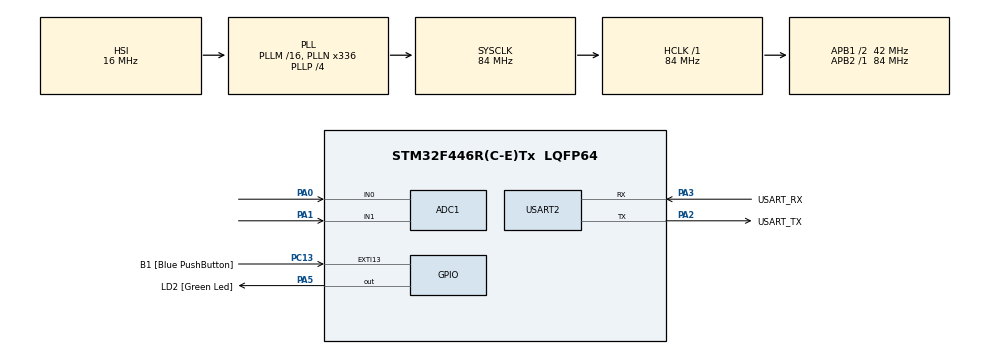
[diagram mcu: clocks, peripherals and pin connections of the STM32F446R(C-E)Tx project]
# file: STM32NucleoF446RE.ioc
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ADC1.Channel-0\#ChannelRegularConversion=ADC_CHANNEL_0
ADC1.Channel-1\#ChannelRegularConversion=ADC_CHANNEL_1
ADC1.DMAContinuousRequests=ENABLE
ADC1.ExternalTrigConv=ADC_EXTERNALTRIGCONV_T2_TRGO
ADC1.NbrOfConversion=2
ADC1.NbrOfConversionFlag=1
ADC1.Rank-0\#ChannelRegularConversion=1
ADC1.Rank-1\#ChannelRegularConversion=2
ADC1.SamplingTime-0\#ChannelRegularConversion=ADC_SAMPLETIME_15CYCLES
ADC1.SamplingTime-1\#ChannelRegularConversion=ADC_SAMPLETIME_15CYCLES
ADC1.ScanConvMode=ENABLE
ADC1.master=1
Dma.ADC1.1.Direction=DMA_PERIPH_TO_MEMORY
Dma.ADC1.1.FIFOMode=DMA_FIFOMODE_DISABLE
Dma.ADC1.1.Instance=DMA2_Stream0
Dma.ADC1.1.MemDataAlignment=DMA_MDATAALIGN_WORD
Dma.ADC1.1.MemInc=DMA_MINC_ENABLE
Dma.ADC1.1.Mode=DMA_CIRCULAR
Dma.ADC1.1.PeriphDataAlignment=DMA_PDATAALIGN_WORD
Dma.ADC1.1.PeriphInc=DMA_PINC_DISABLE
Dma.ADC1.1.Priority=DMA_PRIORITY_LOW
Dma.Request0=USART2_RX
Dma.Request1=ADC1
Dma.USART2_RX.0.Direction=DMA_PERIPH_TO_MEMORY
Dma.USART2_RX.0.FIFOMode=DMA_FIFOMODE_DISABLE
Dma.USART2_RX.0.Instance=DMA1_Stream5
Dma.USART2_RX.0.MemDataAlignment=DMA_MDATAALIGN_BYTE
Dma.USART2_RX.0.MemInc=DMA_MINC_ENABLE
Dma.USART2_RX.0.Mode=DMA_CIRCULAR
Dma.USART2_RX.0.PeriphDataAlignment=DMA_PDATAALIGN_BYTE
Dma.USART2_RX.0.PeriphInc=DMA_PINC_DISABLE
Dma.USART2_RX.0.Priority=DMA_PRIORITY_LOW
Mcu.Family=STM32F4
Mcu.Name=STM32F446R(C-E)Tx
Mcu.Package=LQFP64
NVIC.ADC_IRQn=true\:0\:0\:false\:false\:true\:true\:true
NVIC.DMA1_Stream5_IRQn=true\:0\:0\:false\:false\:true\:false\:true
NVIC.DMA2_Stream0_IRQn=true\:0\:0\:false\:false\:true\:false\:true
NVIC.PriorityGroup=NVIC_PRIORITYGROUP_0
PA0-WKUP.Signal=ADCx_IN0
PA1.Signal=ADCx_IN1
PA13.GPIO_Label=TMS
PA13.Mode=Serial_Wire
PA13.Signal=SYS_JTMS-SWDIO
PA14.GPIO_Label=TCK
PA14.Mode=Serial_Wire
PA14.Signal=SYS_JTCK-SWCLK
PA2.GPIO_Label=USART_TX
PA2.Mode=Asynchronous
PA2.Signal=USART2_TX
PA3.GPIO_Label=USART_RX
PA3.Mode=Asynchronous
PA3.Signal=USART2_RX
PA5.GPIO_Label=LD2 [Green Led]
PA5.Signal=GPIO_Output
PB3.GPIO_Label=SWO
PB3.Signal=SYS_JTDO-SWO
PC13.GPIO_Label=B1 [Blue PushButton]
PC13.GPIO_ModeDefaultEXTI=GPIO_MODE_IT_FALLING
PC13.Signal=GPXTI13
PC14-OSC32_IN.Mode=LSE-External-Oscillator
PC14-OSC32_IN.Signal=RCC_OSC32_IN
PC15-OSC32_OUT.Mode=LSE-External-Oscillator
PC15-OSC32_OUT.Signal=RCC_OSC32_OUT
PH0-OSC_IN.Mode=HSE-External-Oscillator
PH0-OSC_IN.Signal=RCC_OSC_IN
PH1-OSC_OUT.Mode=HSE-External-Oscillator
PH1-OSC_OUT.Signal=RCC_OSC_OUT
ProjectManager.HeapSize=0x200
ProjectManager.StackSize=0x400
ProjectManager.TargetToolchain=STM32CubeIDE
RCC.48MHZClocksFreq_Value=84000000
RCC.AHBFreq_Value=84000000
RCC.APB1CLKDivider=RCC_HCLK_DIV2
RCC.APB1Freq_Value=42000000
RCC.APB1TimFreq_Value=84000000
RCC.APB2Freq_Value=84000000
RCC.APB2TimFreq_Value=84000000
RCC.CortexFreq_Value=84000000
RCC.FLatency-AdvancedSettings=FLASH_LATENCY_2
RCC.HCLKFreq_Value=84000000
RCC.HSE_VALUE=8000000
RCC.HSI_VALUE=16000000
RCC.PLLN=336
RCC.PLLP=RCC_PLLP_DIV4
RCC.SYSCLKFreq_VALUE=84000000
RCC.SYSCLKSource=RCC_SYSCLKSOURCE_PLLCLK
RCC.USBFreq_Value=168000000
RCC.VCOOutputFreq_Value=336000000
SH.ADCx_IN0.0=ADC1_IN0,IN0
SH.ADCx_IN1.0=ADC1_IN1,IN1
TIM2.Period=1000
TIM2.Prescaler=8400
TIM2.TIM_MasterOutputTrigger=TIM_TRGO_UPDATE
USART2.VirtualMode=VM_ASYNC
VP_TIM2_VS_ClockSourceINT.Mode=Internal
board=NUCLEO-F446RE

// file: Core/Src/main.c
/* USER CODE BEGIN Header */
/**
  ******************************************************************************
  * @file           : main.c
  * @brief          : Main program body
  ******************************************************************************
  * @attention
  *
  * <h2><center>&copy; Copyright (c) 2020 STMicroelectronics.
  * All rights reserved.</center></h2>
  *
  * This software component is licensed by ST under BSD 3-Clause license,
  * the "License"; You may not use this file except in compliance with the
  * License. You may obtain a copy of the License at:
  *                        opensource.org/licenses/BSD-3-Clause
  *
  ******************************************************************************
  */
/* USER CODE END Header */

#include "main.h"

/* USER CODE BEGIN Includes */
#include <stdio.h>
/* USER CODE END Includes */

/* USER CODE BEGIN PTD */
/* Private typedef -----------------------------------------------------------*/
/* USER CODE BEGIN PTD */
/**
 * The below code is added to use printf functionality.
 */
#ifdef __GNUC__
  /* With GCC, small printf (option LD Linker->Libraries->Small printf
     set to 'Yes') calls __io_putchar() */
  #define PUTCHAR_PROTOTYPE int __io_putchar(int ch)
#else
  #define PUTCHAR_PROTOTYPE int fputc(int ch, FILE *f)
#endif /* __GNUC__ */

#define VREF 3.3
#define VOLT_CONV_FACTOR (VREF/4096)
/* USER CODE END PTD */

ADC_HandleTypeDef hadc1;
DMA_HandleTypeDef hdma_adc1;

TIM_HandleTypeDef htim2;

UART_HandleTypeDef huart2;
DMA_HandleTypeDef hdma_usart2_rx;

void SystemClock_Config(void);
static void MX_GPIO_Init(void);
static void MX_DMA_Init(void);
static void MX_USART2_UART_Init(void);
static void MX_ADC1_Init(void);
static void MX_TIM2_Init(void);

/* USER CODE BEGIN 0 */
   uint8_t RxBuffer[10];
   uint32_t AdcValue[2];
   ADC_ChannelConfTypeDef sConfig = {0};
   float Voltage0,Voltage1;
/* USER CODE END 0 */

int main(void)
{

  /* MCU Configuration--------------------------------------------------------*/

  /* Reset of all peripherals, Initializes the Flash interface and the Systick. */
  HAL_Init();

  /* Configure the system clock */
  SystemClock_Config();

  /* Initialize all configured peripherals */
  MX_GPIO_Init();
  MX_DMA_Init();
  MX_USART2_UART_Init();
  MX_ADC1_Init();
  MX_TIM2_Init();
  /* USER CODE BEGIN 2 */
  HAL_TIM_Base_Start(&htim2);
  HAL_ADC_Start_DMA(&hadc1,AdcValue,2);
  HAL_UART_Receive_DMA(&huart2,RxBuffer,10);
  /* USER CODE END 2 */

  /* Infinite loop */
  /* USER CODE BEGIN WHILE */
  while (1)
  {
	  if(HAL_GPIO_ReadPin(GPIOC,GPIO_PIN_13) == GPIO_PIN_RESET)
	  	  {
		  	  printf("%lu\t%lu\n\r",AdcValue[0],AdcValue[1]);
	  	  }

    /* USER CODE END WHILE */

  }
}

void SystemClock_Config(void)
{
  RCC_OscInitTypeDef RCC_OscInitStruct = {0};
  RCC_ClkInitTypeDef RCC_ClkInitStruct = {0};

  /** Configure the main internal regulator output voltage
  */
  __HAL_RCC_PWR_CLK_ENABLE();
  __HAL_PWR_VOLTAGESCALING_CONFIG(PWR_REGULATOR_VOLTAGE_SCALE3);
  /** Initializes the CPU, AHB and APB busses clocks
  */
  RCC_OscInitStruct.OscillatorType = RCC_OSCILLATORTYPE_HSI;
  RCC_OscInitStruct.HSIState = RCC_HSI_ON;
  RCC_OscInitStruct.HSICalibrationValue = RCC_HSICALIBRATION_DEFAULT;
  RCC_OscInitStruct.PLL.PLLState = RCC_PLL_ON;
  RCC_OscInitStruct.PLL.PLLSource = RCC_PLLSOURCE_HSI;
  RCC_OscInitStruct.PLL.PLLM = 16;
  RCC_OscInitStruct.PLL.PLLN = 336;
  RCC_OscInitStruct.PLL.PLLP = RCC_PLLP_DIV4;
  RCC_OscInitStruct.PLL.PLLQ = 2;
  RCC_OscInitStruct.PLL.PLLR = 2;
  if (HAL_RCC_OscConfig(&RCC_OscInitStruct) != HAL_OK)
  {
    Error_Handler();
  }
  /** Initializes the CPU, AHB and APB busses clocks
  */
  RCC_ClkInitStruct.ClockType = RCC_CLOCKTYPE_HCLK|RCC_CLOCKTYPE_SYSCLK
                              |RCC_CLOCKTYPE_PCLK1|RCC_CLOCKTYPE_PCLK2;
  RCC_ClkInitStruct.SYSCLKSource = RCC_SYSCLKSOURCE_PLLCLK;
  RCC_ClkInitStruct.AHBCLKDivider = RCC_SYSCLK_DIV1;
  RCC_ClkInitStruct.APB1CLKDivider = RCC_HCLK_DIV2;
  RCC_ClkInitStruct.APB2CLKDivider = RCC_HCLK_DIV1;

  if (HAL_RCC_ClockConfig(&RCC_ClkInitStruct, FLASH_LATENCY_2) != HAL_OK)
  {
    Error_Handler();
  }
}

static void MX_ADC1_Init(void)
{

  ADC_ChannelConfTypeDef sConfig = {0};

  /** Configure the global features of the ADC (Clock, Resolution, Data Alignment and number of conversion)
  */
  hadc1.Instance = ADC1;
  hadc1.Init.ClockPrescaler = ADC_CLOCK_SYNC_PCLK_DIV4;
  hadc1.Init.Resolution = ADC_RESOLUTION_12B;
  hadc1.Init.ScanConvMode = ENABLE;
  hadc1.Init.ContinuousConvMode = DISABLE;
  hadc1.Init.DiscontinuousConvMode = DISABLE;
  hadc1.Init.ExternalTrigConvEdge = ADC_EXTERNALTRIGCONVEDGE_RISING;
  hadc1.Init.ExternalTrigConv = ADC_EXTERNALTRIGCONV_T2_TRGO;
  hadc1.Init.DataAlign = ADC_DATAALIGN_RIGHT;
  hadc1.Init.NbrOfConversion = 2;
  hadc1.Init.DMAContinuousRequests = ENABLE;
  hadc1.Init.EOCSelection = ADC_EOC_SINGLE_CONV;
  if (HAL_ADC_Init(&hadc1) != HAL_OK)
  {
    Error_Handler();
  }
  /** Configure for the selected ADC regular channel its corresponding rank in the sequencer and its sample time.
  */
  sConfig.Channel = ADC_CHANNEL_0;
  sConfig.Rank = 1;
  sConfig.SamplingTime = ADC_SAMPLETIME_15CYCLES;
  if (HAL_ADC_ConfigChannel(&hadc1, &sConfig) != HAL_OK)
  {
    Error_Handler();
  }
  /** Configure for the selected ADC regular channel its corresponding rank in the sequencer and its sample time.
  */
  sConfig.Channel = ADC_CHANNEL_1;
  sConfig.Rank = 2;
  if (HAL_ADC_ConfigChannel(&hadc1, &sConfig) != HAL_OK)
  {
    Error_Handler();
  }

}

static void MX_TIM2_Init(void)
{

  TIM_ClockConfigTypeDef sClockSourceConfig = {0};
  TIM_MasterConfigTypeDef sMasterConfig = {0};

  htim2.Instance = TIM2;
  htim2.Init.Prescaler = 8400;
  htim2.Init.CounterMode = TIM_COUNTERMODE_UP;
  htim2.Init.Period = 1000;
  htim2.Init.ClockDivision = TIM_CLOCKDIVISION_DIV1;
  htim2.Init.AutoReloadPreload = TIM_AUTORELOAD_PRELOAD_DISABLE;
  if (HAL_TIM_Base_Init(&htim2) != HAL_OK)
  {
    Error_Handler();
  }
  sClockSourceConfig.ClockSource = TIM_CLOCKSOURCE_INTERNAL;
  if (HAL_TIM_ConfigClockSource(&htim2, &sClockSourceConfig) != HAL_OK)
  {
    Error_Handler();
  }
  sMasterConfig.MasterOutputTrigger = TIM_TRGO_UPDATE;
  sMasterConfig.MasterSlaveMode = TIM_MASTERSLAVEMODE_DISABLE;
  if (HAL_TIMEx_MasterConfigSynchronization(&htim2, &sMasterConfig) != HAL_OK)
  {
    Error_Handler();
  }

}

static void MX_USART2_UART_Init(void)
{

  huart2.Instance = USART2;
  huart2.Init.BaudRate = 115200;
  huart2.Init.WordLength = UART_WORDLENGTH_8B;
  huart2.Init.StopBits = UART_STOPBITS_1;
  huart2.Init.Parity = UART_PARITY_NONE;
  huart2.Init.Mode = UART_MODE_TX_RX;
  huart2.Init.HwFlowCtl = UART_HWCONTROL_NONE;
  huart2.Init.OverSampling = UART_OVERSAMPLING_16;
  if (HAL_UART_Init(&huart2) != HAL_OK)
  {
    Error_Handler();
  }

}

static void MX_DMA_Init(void)
{

  /* DMA controller clock enable */
  __HAL_RCC_DMA1_CLK_ENABLE();
  __HAL_RCC_DMA2_CLK_ENABLE();

  /* DMA interrupt init */
  /* DMA1_Stream5_IRQn interrupt configuration */
  HAL_NVIC_SetPriority(DMA1_Stream5_IRQn, 0, 0);
  HAL_NVIC_EnableIRQ(DMA1_Stream5_IRQn);
  /* DMA2_Stream0_IRQn interrupt configuration */
  HAL_NVIC_SetPriority(DMA2_Stream0_IRQn, 0, 0);
  HAL_NVIC_EnableIRQ(DMA2_Stream0_IRQn);

}

static void MX_GPIO_Init(void)
{
  GPIO_InitTypeDef GPIO_InitStruct = {0};

  /* GPIO Ports Clock Enable */
  __HAL_RCC_GPIOC_CLK_ENABLE();
  __HAL_RCC_GPIOH_CLK_ENABLE();
  __HAL_RCC_GPIOA_CLK_ENABLE();
  __HAL_RCC_GPIOB_CLK_ENABLE();

  /*Configure GPIO pin Output Level */
  HAL_GPIO_WritePin(LD2_GPIO_Port, LD2_Pin, GPIO_PIN_RESET);

  /*Configure GPIO pin : B1_Pin */
  GPIO_InitStruct.Pin = B1_Pin;
  GPIO_InitStruct.Mode = GPIO_MODE_IT_FALLING;
  GPIO_InitStruct.Pull = GPIO_NOPULL;
  HAL_GPIO_Init(B1_GPIO_Port, &GPIO_InitStruct);

  /*Configure GPIO pin : LD2_Pin */
  GPIO_InitStruct.Pin = LD2_Pin;
  GPIO_InitStruct.Mode = GPIO_MODE_OUTPUT_PP;
  GPIO_InitStruct.Pull = GPIO_NOPULL;
  GPIO_InitStruct.Speed = GPIO_SPEED_FREQ_LOW;
  HAL_GPIO_Init(LD2_GPIO_Port, &GPIO_InitStruct);

}

/* USER CODE BEGIN 4 */
/**
 * The below code is added to use printf functionality.
 */
PUTCHAR_PROTOTYPE
{
  /* Place your implementation of fputc here */
  /* e.g. write a character to the EVAL_COM1 and Loop until the end of transmission */
  HAL_UART_Transmit(&huart2, (uint8_t *)&ch, 1, 0xFFFF);

  return ch;
}

void HAL_UART_RxCpltCallback (UART_HandleTypeDef *huart)
{
	HAL_UART_Transmit(&huart2,RxBuffer,10,20);
}

void HAL_ADC_ConvCpltCallback (ADC_HandleTypeDef *hadc)
{
	HAL_GPIO_TogglePin(GPIOA,GPIO_PIN_5);
}
/* USER CODE END 4 */

void Error_Handler(void)
{
}

/************************ (C) COPYRIGHT STMicroelectronics *****END OF FILE****/
